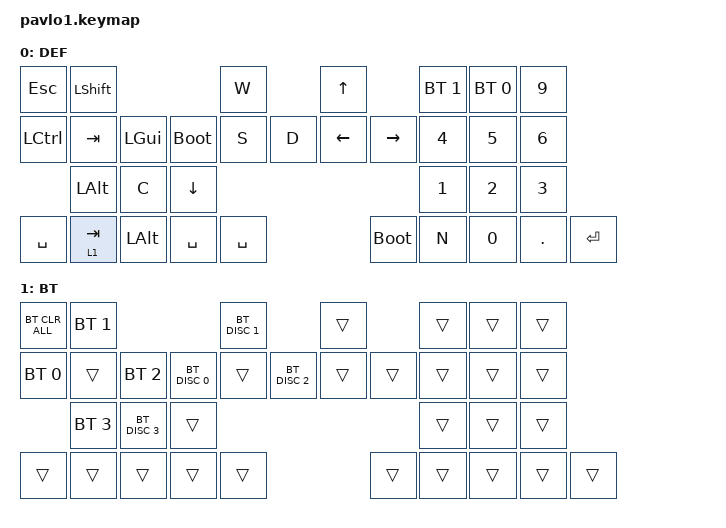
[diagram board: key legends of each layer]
/*
 * Copyright (c) 2020 The ZMK Contributors
 *
 * SPDX-License-Identifier: MIT
 */

#include <behaviors.dtsi>
#include <dt-bindings/zmk/bt.h>
#include <dt-bindings/zmk/keys.h>

/ {
    combos {
        compatible = "zmk,combos";

        Escape {
            bindings = <&kp ESC>;
            key-positions = <1 3>;
        };

        Space {
            bindings = <&kp SPACE>;
            key-positions = <13 12>;
        };
    };

    keymap {
        compatible = "zmk,keymap";

        DEF {
            bindings = <
&kp ESC    &kp LEFT_SHIFT                         &kp W                                 &kp UP                  &bt BT_SEL 1  &bt BT_SEL 0  &kp NUMBER_9
&kp LCTRL  &kp TAB         &kp LGUI  &bootloader  &kp S         &kp D        &kp LEFT                &kp RIGHT  &kp NUMBER_4  &kp NUMBER_5  &kp NUMBER_6
           &kp LEFT_ALT                           &kp C                                 &kp DOWN                &kp NUMBER_1  &kp NUMBER_2  &kp NUMBER_3
&kp SPACE  &lt 1 TAB                              &kp LEFT_ALT  &kp SPACE    &kp SPACE  &bootloader  &kp N      &kp N0        &kp DOT       &kp ENTER
            >;
        };

        BT {
            bindings = <
&bt BT_CLR_ALL  &bt BT_SEL 1                               &bt BT_DISC 1                           &trans          &trans  &trans  &trans
&bt BT_SEL 0    &trans        &bt BT_SEL 2  &bt BT_DISC 0  &trans         &bt BT_DISC 2    &trans          &trans  &trans  &trans  &trans
                &bt BT_SEL 3                               &bt BT_DISC 3                           &trans          &trans  &trans  &trans
&trans          &trans                                     &trans         &trans           &trans  &trans  &trans  &trans  &trans  &trans
            >;
        };
    };
};
